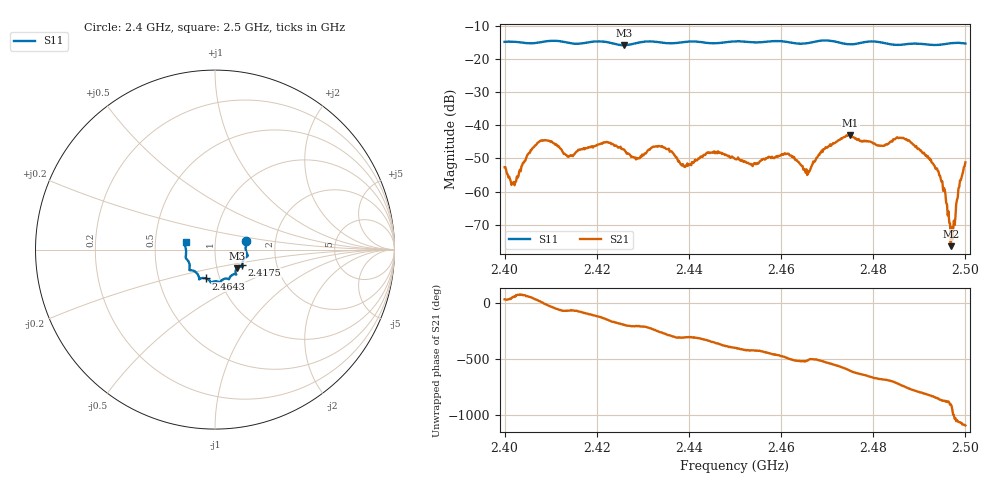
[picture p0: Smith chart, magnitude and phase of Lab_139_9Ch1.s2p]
# Hz S RI R 50
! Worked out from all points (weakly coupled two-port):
!   601 points, 2.4 GHz to 2.5 GHz, reference 50 ohm
!   highest |S21| = -43.01 dB at 2.475 GHz (marker M1); lowest = -76.4 dB at 2.4968 GHz (marker M2)
!   lowest |S11| = -15.9 dB at 2.4258 GHz (marker M3), VSWR 1.38, Z = 62.3 - j13.3 ohm
!   |S11| at or under -10 dB: start of sweep to end of sweep
!   S12 and S22 are empty: the file has one direction only
!   S11 on the Smith chart (normalised r, x): 2.4 GHz: 1.41, +0.14; 2.4175 GHz: 1.34, -0.23; 2.4643 GHz: 0.86, -0.29; 2.5 GHz: 0.72, +0.06
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2.4e9  0.1732 0.0486  0.00195 0.00128  0 0  0 0
2.402e9  0.1757 0.0407  0.000833 0.00112  0 0  0 0
2.408167e9  0.1781 -0.0224  0.00581 0.00043  0 0  0 0
2.416667e9  0.153 -0.0743  0.00066 -0.00428  0 0  0 0
2.4175e9  0.152 -0.0837  -2.8e-05 -0.00451  0 0  0 0
2.425833e9  0.1216 -0.1038  -0.00419 0.00112  0 0  0 0
2.428833e9  0.1149 -0.13  -0.0028 0.00144  0 0  0 0
2.433333e9  0.1129 -0.137  -0.00137 0.00462  0 0  0 0
2.439e9  0.0805 -0.1595  0.00141 0.0019  0 0  0 0
2.45e9  0.0288 -0.1809  0.00238 -0.00198  0 0  0 0
2.461167e9  -0.0266 -0.1776  -0.00225 -0.00293  0 0  0 0
2.464333e9  -0.0498 -0.1608  -0.00232 -0.000916  0 0  0 0
2.466667e9  -0.076 -0.1595  -0.00188 -0.00157  0 0  0 0
2.475e9  -0.1063 -0.1262  -0.00304 0.00639  0 0  0 0
2.483333e9  -0.1407 -0.0901  0.00458 0.00257  0 0  0 0
2.486833e9  -0.1546 -0.0569  0.00562 -0.00267  0 0  0 0
2.492667e9  -0.1609 -0.0178  -0.000941 -0.00259  0 0  0 0
2.495167e9  -0.1641 0.0117  -0.000904 -0.000492  0 0  0 0
2.496833e9  -0.169 0.0259  -0.000151 7.55e-06  0 0  0 0
2.497333e9  -0.1701 0.0289  2.33e-05 0.000267  0 0  0 0
2.4985e9  -0.17 0.0349  0.00105 0.000378  0 0  0 0
2.5e9  -0.1639 0.0428  0.0027 -0.000525  0 0  0 0
